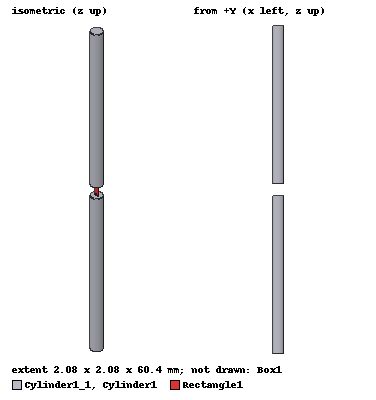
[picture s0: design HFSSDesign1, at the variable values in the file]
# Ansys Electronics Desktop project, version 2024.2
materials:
  vacuum: permittivity=1
  pec: conductivity=1e+30

design HFSSDesign1 (HFSS, HFSS Terminal Network, model units mm)
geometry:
  Cylinder1 [pec] = cylinder(axis=Z, base_centre=(0mm, 0mm, 1.04mm), radius=1.04mm, height=29.16mm)
  Rectangle1 = rectangle(corner=(0mm, (-1.04/2) mm, -1.04mm), y_size=1.04mm, z_size=(2*1.04) mm)
  Cylinder1_1 [pec] = Cylinder1.duplicate_around_axis(axis=Y, angle=-180deg, total=2)
  Box1 [vacuum] = box(corner=((-150/2) mm, (-150/2) mm, (-150/2) mm), size=(150mm, 150mm, 150mm))
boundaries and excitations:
  Rad1: Radiation Objects=Box1
  1: Lumped Port Objects=Rectangle1 LumpedPortType=Modal Modes{Mode1{IntLine{(0mm, 0mm, -1000mm) -> (0, 0, 1.04)} CharImp=Zpi RenormImp=73ohm}} Impedance=50ohm
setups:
  Setup1: HfssDriven Frequency=2.4GHz MaxDeltaS=0.02 MaximumPasses=20 MinimumPasses=1 MinimumConvergedPasses=1 PercentRefinement=30 BasisOrder=1 PortAccuracy=2 DrivenSolverType="Direct Solver"
    sweep Sweep: 1GHz to 5GHz, 120 points; Type=Fast SaveFields
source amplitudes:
  1:1: 1V 0deg
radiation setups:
  Infinite Sphere1: Infinite Sphere Theta=0deg..360deg step 5deg Phi=0deg..360deg step 5deg
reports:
  S Parameter Plot 1: dB(S(1,1)) vs Freq on Setup1 : Sweep; markers m1 at 2.210084GHz, m4 at 2.4117647GHz
  VSWR Plot 1: VSWR(1) vs Freq on Setup1 : Sweep; markers m3 at 2.4117647GHz
  Gain Plot 1: GainTotal vs Theta on Setup1 : LastAdaptive, Infinite Sphere1 [Phi=0deg,90deg,180deg Freq=2.4GHz]
  Gain Plot 2: dB(GainTotal) vs Phi, Theta on Setup1 : LastAdaptive, Infinite Sphere1 [Freq=2.4GHz]
  Directivity Plot 1: dB(DirTotal) vs Phi, Theta on Setup1 : LastAdaptive, Infinite Sphere1 [Freq=2.4GHz]
